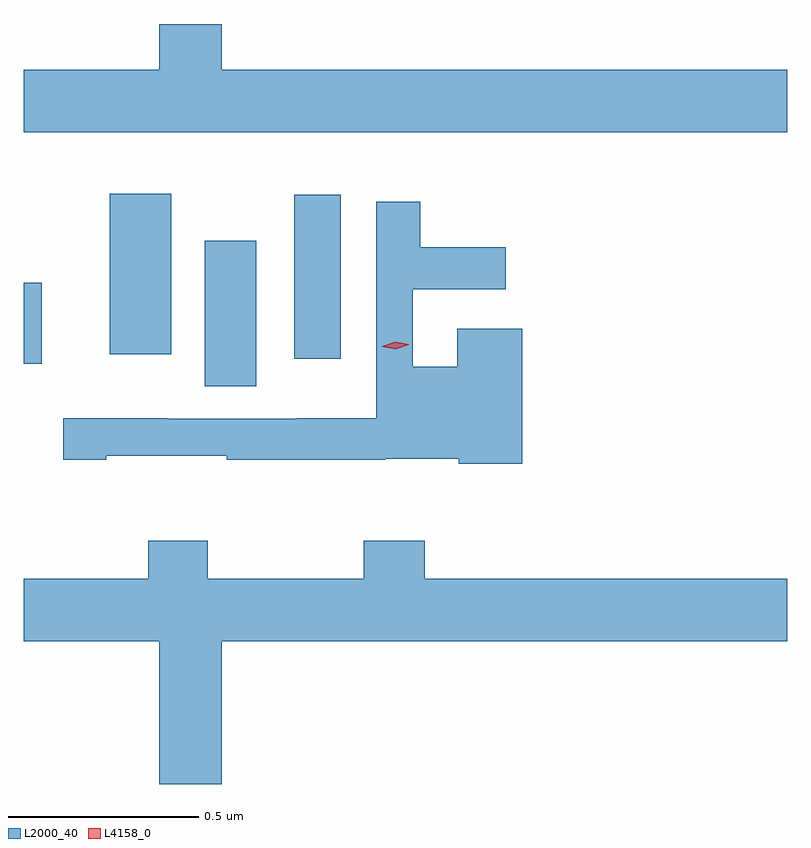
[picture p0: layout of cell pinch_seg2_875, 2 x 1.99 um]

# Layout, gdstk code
import gdstk
lib = gdstk.Library(unit=1e-6, precision=1e-09)
def R(c, l, rs):  # rectangles x0, y0, x1, y1
    for r in rs: c.add(gdstk.rectangle(r[:2], r[2:], *l))
def P(c, l, *ps):  # polygons
    for p in ps: c.add(gdstk.Polygon(p, *l))
L2000_40 = (2000, 40)
L4158_0 = (4158, 0)

pinch_seg2_875 = lib.new_cell('pinch_seg2_875')
R(pinch_seg2_875, L2000_40, [(800.492,611.008,800.626,611.389), (800.017,611.066,800.065,611.278), (800.726,611.079,800.848,611.509), (800.243,611.091,800.404,611.512)])
P(pinch_seg2_875, L2000_40, [(802.017,611.836),(800.536,611.836),(800.536,611.956),(800.372,611.956),(800.372,611.836),(800.017,611.836),(800.017,611.672),(802.017,611.672)],
  [(801.323,611.158),(801.152,611.158),(801.152,611.059),(801.036,611.059),(801.036,611.262),(801.28,611.262),(801.28,611.371),(801.056,611.371),(801.056,611.491),(800.94,611.491),(800.94,610.924),(800.73,610.924),(800.73,610.923),(800.396,610.923),(800.396,610.924),(800.121,610.924),(800.121,610.815),(800.233,610.815),(800.233,610.825),(800.549,610.825),(800.549,610.815),(800.964,610.815),(800.964,610.817),(801.156,610.817),(801.156,610.805),(801.323,610.805)],
  [(800.344,610.504),(800.017,610.504),(800.017,610.34),(800.372,610.34),(800.372,609.966),(800.536,609.966),(800.536,610.34),(802.017,610.34),(802.017,610.504),(801.068,610.504),(801.068,610.603),(800.908,610.603),(800.908,610.504),(800.499,610.504),(800.499,610.603),(800.344,610.603)])
P(pinch_seg2_875, L4158_0, [(800.991,611.104),(800.956,611.111),(800.956,611.112),(800.956,611.112),(800.99,611.124),(801.025,611.117),(801.025,611.117),(801.025,611.116)])

lib.write_gds('pinch_seg2_875.gds')
